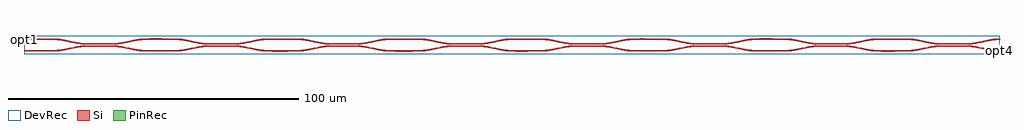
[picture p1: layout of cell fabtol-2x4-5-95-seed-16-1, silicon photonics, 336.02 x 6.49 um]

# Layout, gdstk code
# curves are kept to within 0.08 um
import gdstk
lib = gdstk.Library(unit=1e-6, precision=1e-09)
def R(c, l, rs):  # rectangles x0, y0, x1, y1
    for r in rs: c.add(gdstk.rectangle(r[:2], r[2:], *l))
def P(c, l, *ps):  # polygons
    for p in ps: c.add(gdstk.Polygon(p, *l))
Si = (1, 0)
PinRec = (1, 10)
DevRec = (68, 0)

layer_3_0_phase_sec_2_27 = lib.new_cell('layer-3_0_phase_sec_2$27')
P(layer_3_0_phase_sec_2_27, Si, [(4.508,-0.234),(0,-0.225),(0,0.225),(10,0.225),(10,-0.225)])

layer_3_0_phase_sec_1_27 = lib.new_cell('layer-3_0_phase_sec_1$27')
P(layer_3_0_phase_sec_1_27, Si, [(2.715,-0.228),(0,-0.225),(0,0.225),(10,0.225),(10,-0.225)])

layer_3_0_phase_sec_0_27 = lib.new_cell('layer-3_0_phase_sec_0$27')
P(layer_3_0_phase_sec_0_27, Si, [(1.152,-0.25),(0,-0.225),(0,0.225),(10,0.225),(10,-0.225)])

layer_0_0_phase_sec_0_27 = lib.new_cell('layer-0_0_phase_sec_0$27')
P(layer_0_0_phase_sec_0_27, Si, [(3.422,-0.241),(0,-0.225),(0,0.225),(10,0.225),(10,-0.225)])

layer_3_0_phase_sec_3_27 = lib.new_cell('layer-3_0_phase_sec_3$27')
P(layer_3_0_phase_sec_3_27, Si, [(5.737,-0.244),(0,-0.225),(0,0.225),(10,0.225),(10,-0.225)])

layer_0_0_phase_sec_1_27 = lib.new_cell('layer-0_0_phase_sec_1$27')
P(layer_0_0_phase_sec_1_27, Si, [(2.885,-0.227),(0,-0.225),(0,0.225),(10,0.225),(10,-0.225)])

layer_2_0_phase_sec_3_27 = lib.new_cell('layer-2_0_phase_sec_3$27')
P(layer_2_0_phase_sec_3_27, Si, [(1.339,-0.235),(0,-0.225),(0,0.225),(10,0.225),(10,-0.225)])

dc_arm_down_27 = lib.new_cell('dc_arm_down$27')
R(dc_arm_down_27, Si, [(12,-0.55,20,-0.1)])
P(dc_arm_down_27, Si, [(32,-2.225),(30.861,-2.188),(29.344,-2.033),(22.966,-0.793),(21.481,-0.613),(20,-0.55),(20,-0.1),(21.139,-0.137),(22.656,-0.292),(29.034,-1.532),(30.519,-1.712),(32,-1.775)],
  [(0,-2.225),(0,-1.775),(1.481,-1.712),(2.966,-1.532),(9.344,-0.292),(10.861,-0.137),(12,-0.1),(12,-0.55),(10.519,-0.613),(9.034,-0.793),(2.656,-2.033),(1.139,-2.188)])

dc_arm_up_27 = lib.new_cell('dc_arm_up$27')
R(dc_arm_up_27, Si, [(12,0.1,20,0.55)])
P(dc_arm_up_27, Si, [(20,0.1),(20,0.55),(21.481,0.613),(22.966,0.793),(29.344,2.033),(30.861,2.188),(32,2.225),(32,1.775),(30.519,1.712),(29.034,1.532),(22.656,0.292),(21.139,0.137)],
  [(12,0.1),(10.861,0.137),(9.344,0.292),(2.966,1.532),(1.481,1.712),(0,1.775),(0,2.225),(1.139,2.188),(2.656,2.033),(9.034,0.793),(10.519,0.613),(12,0.55)])

dc_27 = lib.new_cell('dc$27')
dc_27.add(gdstk.Reference(dc_arm_down_27, (0,0)))
dc_27.add(gdstk.Reference(dc_arm_up_27, (0,0)))

layer_0_0_phase_sec_2_27 = lib.new_cell('layer-0_0_phase_sec_2$27')
P(layer_0_0_phase_sec_2_27, Si, [(1.12,-0.248),(0,-0.225),(0,0.225),(10,0.225),(10,-0.225)])

layer_0_0_phase_sec_3_27 = lib.new_cell('layer-0_0_phase_sec_3$27')
P(layer_0_0_phase_sec_3_27, Si, [(1.236,-0.229),(0,-0.225),(0,0.225),(10,0.225),(10,-0.225)])

layer_1_0_phase_sec_0_27 = lib.new_cell('layer-1_0_phase_sec_0$27')
P(layer_1_0_phase_sec_0_27, Si, [(5.555,-0.235),(0,-0.225),(0,0.225),(10,0.225),(10,-0.225)])

layer_1_0_phase_sec_1_27 = lib.new_cell('layer-1_0_phase_sec_1$27')
P(layer_1_0_phase_sec_1_27, Si, [(1.361,-0.245),(0,-0.225),(0,0.225),(10,0.225),(10,-0.225)])

layer_1_0_phase_sec_2_27 = lib.new_cell('layer-1_0_phase_sec_2$27')
P(layer_1_0_phase_sec_2_27, Si, [(1.07,-0.235),(0,-0.225),(0,0.225),(10,0.225),(10,-0.225)])

layer_1_0_phase_sec_3_27 = lib.new_cell('layer-1_0_phase_sec_3$27')
P(layer_1_0_phase_sec_3_27, Si, [(1.566,-0.244),(0,-0.225),(0,0.225),(10,0.225),(10,-0.225)])

layer_2_0_phase_sec_0_27 = lib.new_cell('layer-2_0_phase_sec_0$27')
P(layer_2_0_phase_sec_0_27, Si, [(5.069,-0.237),(0,-0.225),(0,0.225),(10,0.225),(10,-0.225)])

layer_2_0_phase_sec_1_27 = lib.new_cell('layer-2_0_phase_sec_1$27')
P(layer_2_0_phase_sec_1_27, Si, [(4.303,-0.242),(0,-0.225),(0,0.225),(10,0.225),(10,-0.225)])

layer_2_0_phase_sec_2_27 = lib.new_cell('layer-2_0_phase_sec_2$27')
P(layer_2_0_phase_sec_2_27, Si, [(3.279,-0.244),(0,-0.225),(0,0.225),(10,0.225),(10,-0.225)])

fabtol_2x4_5_95_seed_16_ = lib.new_cell('fabtol-2x4-5-95-seed-16-1')
R(fabtol_2x4_5_95_seed_16_, DevRec, [(0,-1,336,5.495)])
fabtol_2x4_5_95_seed_16_.add(gdstk.FlexPath([(335.99,0.245),(336.01,0.245)], 0.45, ends="flush", simple_path=True, layer=1, datatype=10))  # PinRec
fabtol_2x4_5_95_seed_16_.add(gdstk.FlexPath([(335.99,4.245),(336.01,4.245)], 0.45, ends="flush", simple_path=True, layer=1, datatype=10))  # PinRec
fabtol_2x4_5_95_seed_16_.add(gdstk.FlexPath([(0.01,4.245),(-0.01,4.245)], 0.45, ends="flush", simple_path=True, layer=1, datatype=10))  # PinRec
fabtol_2x4_5_95_seed_16_.add(gdstk.Reference(layer_3_0_phase_sec_2_27, (294,4.245)))
fabtol_2x4_5_95_seed_16_.add(gdstk.Reference(layer_3_0_phase_sec_1_27, (252,0.245)))
fabtol_2x4_5_95_seed_16_.add(gdstk.Reference(layer_3_0_phase_sec_0_27, (252,4.245)))
fabtol_2x4_5_95_seed_16_.add(gdstk.Reference(layer_0_0_phase_sec_0_27, (0,4.245)))
fabtol_2x4_5_95_seed_16_.add(gdstk.Reference(layer_3_0_phase_sec_3_27, (294,0.245)))
fabtol_2x4_5_95_seed_16_.add(gdstk.Reference(layer_0_0_phase_sec_1_27, (0,0.245)))
fabtol_2x4_5_95_seed_16_.add(gdstk.Reference(layer_2_0_phase_sec_3_27, (210,0.245)))
fabtol_2x4_5_95_seed_16_.add(gdstk.Reference(dc_27, (10,2.245)))
fabtol_2x4_5_95_seed_16_.add(gdstk.Reference(dc_27, (52,2.245)))
fabtol_2x4_5_95_seed_16_.add(gdstk.Reference(dc_27, (94,2.245)))
fabtol_2x4_5_95_seed_16_.add(gdstk.Reference(dc_27, (136,2.245)))
fabtol_2x4_5_95_seed_16_.add(gdstk.Reference(dc_27, (178,2.245)))
fabtol_2x4_5_95_seed_16_.add(gdstk.Reference(dc_27, (220,2.245)))
fabtol_2x4_5_95_seed_16_.add(gdstk.Reference(dc_27, (262,2.245)))
fabtol_2x4_5_95_seed_16_.add(gdstk.Reference(dc_27, (304,2.245)))
fabtol_2x4_5_95_seed_16_.add(gdstk.Reference(layer_0_0_phase_sec_2_27, (42,4.245)))
fabtol_2x4_5_95_seed_16_.add(gdstk.Reference(layer_0_0_phase_sec_3_27, (42,0.245)))
fabtol_2x4_5_95_seed_16_.add(gdstk.Reference(layer_1_0_phase_sec_0_27, (84,4.245)))
fabtol_2x4_5_95_seed_16_.add(gdstk.Reference(layer_1_0_phase_sec_1_27, (84,0.245)))
fabtol_2x4_5_95_seed_16_.add(gdstk.Reference(layer_1_0_phase_sec_2_27, (126,4.245)))
fabtol_2x4_5_95_seed_16_.add(gdstk.Reference(layer_1_0_phase_sec_3_27, (126,0.245)))
fabtol_2x4_5_95_seed_16_.add(gdstk.Reference(layer_2_0_phase_sec_0_27, (168,4.245)))
fabtol_2x4_5_95_seed_16_.add(gdstk.Reference(layer_2_0_phase_sec_1_27, (168,0.245)))
fabtol_2x4_5_95_seed_16_.add(gdstk.Reference(layer_2_0_phase_sec_2_27, (210,4.245)))
fabtol_2x4_5_95_seed_16_.add(gdstk.Label('opt4', (336,0.245), layer=1, texttype=10))
fabtol_2x4_5_95_seed_16_.add(gdstk.Label('opt3', (336,4.245), layer=1, texttype=10))
fabtol_2x4_5_95_seed_16_.add(gdstk.Label('opt1', (0,4.245), layer=1, texttype=10))

lib.write_gds('fabtol-2x4-5-95-seed-16-1.gds')
